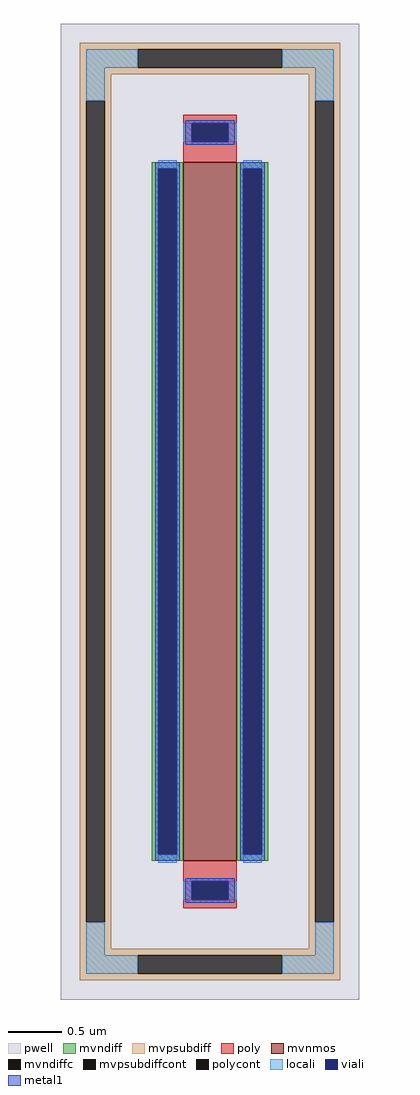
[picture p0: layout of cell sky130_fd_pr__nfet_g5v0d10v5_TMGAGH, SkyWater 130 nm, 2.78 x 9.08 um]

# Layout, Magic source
magic
tech sky130A
<< pwell >>
rect -139 -454 139 454
<< mvnmos >>
rect -25 -325 25 325
<< mvndiff >>
rect -54 319 -25 325
rect -54 -319 -48 319
rect -31 -319 -25 319
rect -54 -325 -25 -319
rect 25 319 54 325
rect 25 -319 31 319
rect 48 -319 54 319
rect 25 -325 54 -319
<< mvndiffc >>
rect -48 -319 -31 319
rect 31 -319 48 319
<< mvpsubdiff >>
rect -121 430 121 436
rect -121 413 -67 430
rect 67 413 121 430
rect -121 407 121 413
rect -121 382 -92 407
rect -121 -382 -115 382
rect -98 -382 -92 382
rect 92 382 121 407
rect -121 -407 -92 -382
rect 92 -382 98 382
rect 115 -382 121 382
rect 92 -407 121 -382
rect -121 -413 121 -407
rect -121 -430 -67 -413
rect 67 -430 121 -413
rect -121 -436 121 -430
<< mvpsubdiffcont >>
rect -67 413 67 430
rect -115 -382 -98 382
rect 98 -382 115 382
rect -67 -430 67 -413
<< poly >>
rect -25 361 25 369
rect -25 344 -17 361
rect 17 344 25 361
rect -25 325 25 344
rect -25 -344 25 -325
rect -25 -361 -17 -344
rect 17 -361 25 -344
rect -25 -369 25 -361
<< polycont >>
rect -17 344 17 361
rect -17 -361 17 -344
<< locali >>
rect -115 413 -67 430
rect 67 413 115 430
rect -115 382 -98 413
rect 98 382 115 413
rect -25 344 -17 361
rect 17 344 25 361
rect -48 319 -31 327
rect -48 -327 -31 -319
rect 31 319 48 327
rect 31 -327 48 -319
rect -25 -361 -17 -344
rect 17 -361 25 -344
rect -115 -413 -98 -382
rect 98 -413 115 -382
rect -115 -430 -67 -413
rect 67 -430 115 -413
<< viali >>
rect -17 344 17 361
rect -48 -319 -31 319
rect 31 -319 48 319
rect -17 -361 17 -344
<< metal1 >>
rect -23 361 23 364
rect -23 344 -17 361
rect 17 344 23 361
rect -23 341 23 344
rect -51 319 -28 325
rect -51 -319 -48 319
rect -31 -319 -28 319
rect -51 -325 -28 -319
rect 28 319 51 325
rect 28 -319 31 319
rect 48 -319 51 319
rect 28 -325 51 -319
rect -23 -344 23 -341
rect -23 -361 -17 -344
rect 17 -361 23 -344
rect -23 -364 23 -361
<< properties >>
string FIXED_BBOX -106 -421 106 421
string gencell sky130_fd_pr__nfet_g5v0d10v5
string library sky130
string parameters w 6.5 l 0.5 m 1 nf 1 diffcov 100 polycov 100 guard 1 glc 1 grc 1 gtc 1 gbc 1 tbcov 100 rlcov 100 topc 1 botc 1 poverlap 0 doverlap 1 lmin 0.50 wmin 0.42 compatible {sky130_fd_pr__nfet_01v8 sky130_fd_pr__nfet_01v8_lvt  sky130_fd_bs_flash__special_sonosfet_star  sky130_fd_pr__nfet_g5v0d10v5 sky130_fd_pr__nfet_05v0_nvt  sky130_fd_pr__nfet_03v3_nvt} full_metal 1 viasrc 100 viadrn 100 viagate 100 viagb 0 viagr 0 viagl 0 viagt 0
<< end >>
